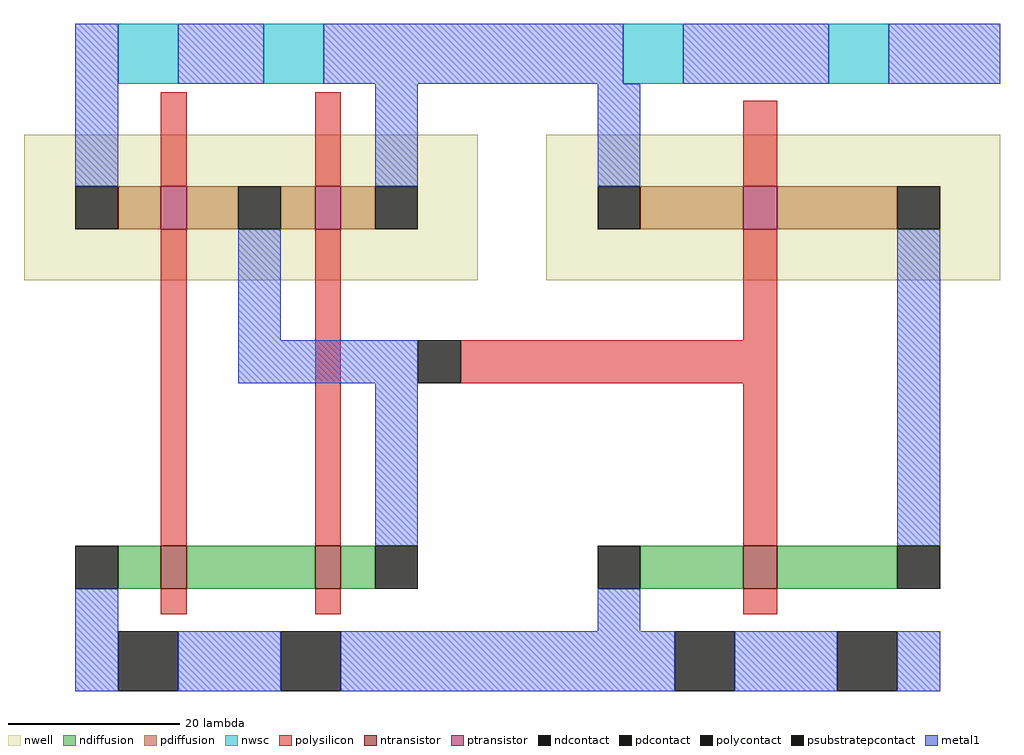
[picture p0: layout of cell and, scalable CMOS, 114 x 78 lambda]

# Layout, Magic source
magic
tech scmos
<< nwell >>
rect -21 3 32 20
rect 40 3 93 20
<< ntransistor >>
rect -5 -33 -2 -28
rect 13 -33 16 -28
rect 63 -33 67 -28
<< ptransistor >>
rect -5 9 -2 14
rect 13 9 16 14
rect 63 9 67 14
<< ndiffusion >>
rect -10 -33 -5 -28
rect -2 -33 13 -28
rect 16 -33 20 -28
rect 51 -33 63 -28
rect 67 -33 81 -28
<< pdiffusion >>
rect -10 9 -5 14
rect -2 9 4 14
rect 9 9 13 14
rect 16 9 20 14
rect 51 9 63 14
rect 67 9 81 14
<< ndcontact >>
rect -15 -33 -10 -28
rect 20 -33 25 -28
rect 46 -33 51 -28
rect 81 -33 86 -28
<< pdcontact >>
rect -15 9 -10 14
rect 4 9 9 14
rect 20 9 25 14
rect 46 9 51 14
rect 81 9 86 14
<< psubstratepcontact >>
rect -10 -45 -3 -38
rect 9 -45 16 -38
rect 55 -45 62 -38
rect 74 -45 81 -38
<< nwsc >>
rect -10 26 -3 33
rect 7 26 14 33
rect 49 26 56 33
rect 73 26 80 33
<< polysilicon >>
rect -5 14 -2 25
rect 13 14 16 25
rect 63 14 67 24
rect -5 -28 -2 9
rect 13 -28 16 9
rect 63 -4 67 9
rect 30 -9 67 -4
rect 63 -28 67 -9
rect -5 -36 -2 -33
rect 13 -36 16 -33
rect 63 -36 67 -33
<< polycontact >>
rect 25 -9 30 -4
<< metal1 >>
rect -15 14 -10 33
rect -3 26 7 33
rect 14 26 49 33
rect 56 26 73 33
rect 80 26 93 33
rect 20 14 25 26
rect 46 14 51 26
rect 4 -4 9 9
rect 4 -9 25 -4
rect 20 -28 25 -9
rect 81 -28 86 9
rect -15 -45 -10 -33
rect 46 -38 51 -33
rect -3 -45 9 -38
rect 16 -45 55 -38
rect 62 -45 74 -38
rect 81 -45 86 -38
<< end >>
